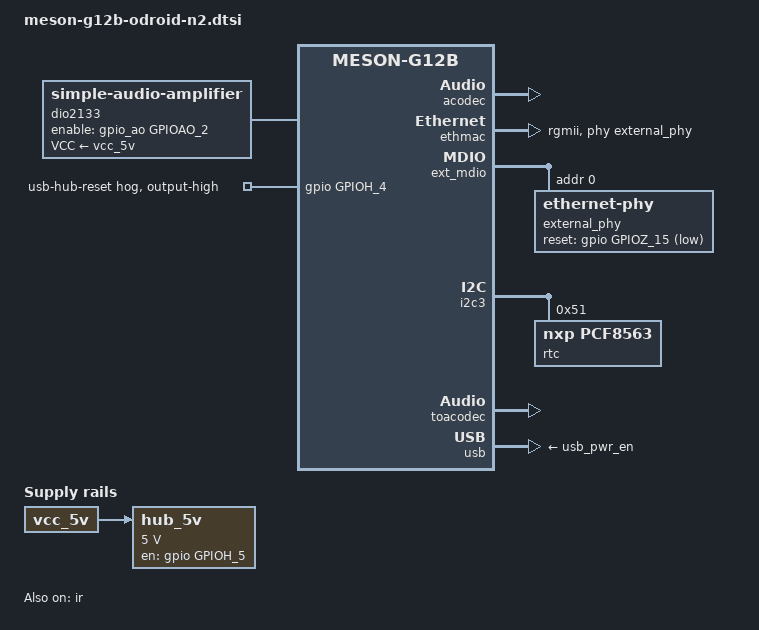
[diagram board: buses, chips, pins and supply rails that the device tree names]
// SPDX-License-Identifier: (GPL-2.0+ OR MIT)
/*
 * Copyright (c) 2019 BayLibre, SAS
 * Author: Neil Armstrong <narmstrong@baylibre.com>
 */

#include "meson-g12b-odroid.dtsi"

/ {
	aliases {
		rtc0 = &rtc;
	};

	dio2133: audio-amplifier-0 {
		compatible = "simple-audio-amplifier";
		enable-gpios = <&gpio_ao GPIOAO_2 GPIO_ACTIVE_HIGH>;
		VCC-supply = <&vcc_5v>;
		sound-name-prefix = "U19";
		status = "okay";
	};

	hub_5v: regulator-hub_5v {
		compatible = "regulator-fixed";
		regulator-name = "HUB_5V";
		regulator-min-microvolt = <5000000>;
		regulator-max-microvolt = <5000000>;
		vin-supply = <&vcc_5v>;

		/* Connected to the Hub CHIPENABLE, LOW sets low power state */
		gpio = <&gpio GPIOH_5 GPIO_ACTIVE_HIGH>;
		enable-active-high;
	};

	sound {
		compatible = "amlogic,axg-sound-card";
		model = "ODROID-N2";
		audio-widgets = "Line", "Lineout";
		audio-aux-devs = <&tdmout_b>, <&tdmout_c>, <&tdmin_a>,
				 <&tdmin_b>, <&tdmin_c>, <&tdmin_lb>,
				 <&dio2133>;
		audio-routing = "TDMOUT_B IN 0", "FRDDR_A OUT 1",
				"TDMOUT_B IN 1", "FRDDR_B OUT 1",
				"TDMOUT_B IN 2", "FRDDR_C OUT 1",
				"TDM_B Playback", "TDMOUT_B OUT",
				"TDMOUT_C IN 0", "FRDDR_A OUT 2",
				"TDMOUT_C IN 1", "FRDDR_B OUT 2",
				"TDMOUT_C IN 2", "FRDDR_C OUT 2",
				"TDM_C Playback", "TDMOUT_C OUT",
				"TDMIN_A IN 4", "TDM_B Loopback",
				"TDMIN_B IN 4", "TDM_B Loopback",
				"TDMIN_C IN 4", "TDM_B Loopback",
				"TDMIN_LB IN 1", "TDM_B Loopback",
				"TDMIN_A IN 5", "TDM_C Loopback",
				"TDMIN_B IN 5", "TDM_C Loopback",
				"TDMIN_C IN 5", "TDM_C Loopback",
				"TDMIN_LB IN 2", "TDM_C Loopback",
				"TODDR_A IN 0", "TDMIN_A OUT",
				"TODDR_B IN 0", "TDMIN_A OUT",
				"TODDR_C IN 0", "TDMIN_A OUT",
				"TODDR_A IN 1", "TDMIN_B OUT",
				"TODDR_B IN 1", "TDMIN_B OUT",
				"TODDR_C IN 1", "TDMIN_B OUT",
				"TODDR_A IN 2", "TDMIN_C OUT",
				"TODDR_B IN 2", "TDMIN_C OUT",
				"TODDR_C IN 2", "TDMIN_C OUT",
				"TODDR_A IN 6", "TDMIN_LB OUT",
				"TODDR_B IN 6", "TDMIN_LB OUT",
				"TODDR_C IN 6", "TDMIN_LB OUT",
				"U19 INL", "ACODEC LOLP",
				"U19 INR", "ACODEC LORP",
				"Lineout", "U19 OUTL",
				"Lineout", "U19 OUTR";

		assigned-clocks = <&clkc CLKID_MPLL2>,
				  <&clkc CLKID_MPLL0>,
				  <&clkc CLKID_MPLL1>;
		assigned-clock-parents = <0>, <0>, <0>;
		assigned-clock-rates = <294912000>,
				       <270950400>,
				       <393216000>;

		dai-link-0 {
			sound-dai = <&frddr_a>;
		};

		dai-link-1 {
			sound-dai = <&frddr_b>;
		};

		dai-link-2 {
			sound-dai = <&frddr_c>;
		};

		dai-link-3 {
			sound-dai = <&toddr_a>;
		};

		dai-link-4 {
			sound-dai = <&toddr_b>;
		};

		dai-link-5 {
			sound-dai = <&toddr_c>;
		};

		/* 8ch hdmi interface */
		dai-link-6 {
			sound-dai = <&tdmif_b>;
			dai-format = "i2s";
			dai-tdm-slot-tx-mask-0 = <1 1>;
			dai-tdm-slot-tx-mask-1 = <1 1>;
			dai-tdm-slot-tx-mask-2 = <1 1>;
			dai-tdm-slot-tx-mask-3 = <1 1>;
			mclk-fs = <256>;

			codec-0 {
				sound-dai = <&tohdmitx TOHDMITX_I2S_IN_B>;
			};

			codec-1 {
				sound-dai = <&toacodec TOACODEC_IN_B>;
			};
		};

		/* i2s jack output interface */
		dai-link-7 {
			sound-dai = <&tdmif_c>;
			dai-format = "i2s";
			dai-tdm-slot-tx-mask-0 = <1 1>;
			mclk-fs = <256>;

			codec-0 {
				sound-dai = <&tohdmitx TOHDMITX_I2S_IN_C>;
			};

			codec-1 {
				sound-dai = <&toacodec TOACODEC_IN_C>;
			};
		};

		/* hdmi glue */
		dai-link-8 {
			sound-dai = <&tohdmitx TOHDMITX_I2S_OUT>;

			codec {
				sound-dai = <&hdmi_tx>;
			};
		};

		/* acodec glue */
		dai-link-9 {
			sound-dai = <&toacodec TOACODEC_OUT>;

			codec {
				sound-dai = <&acodec>;
			};
		};
	};
};

&acodec {
	AVDD-supply = <&vddao_1v8>;
	status = "okay";
};

&ethmac {
	pinctrl-0 = <&eth_pins>, <&eth_rgmii_pins>;
	pinctrl-names = "default";
	status = "okay";
	phy-mode = "rgmii";
	phy-handle = <&external_phy>;
	amlogic,tx-delay-ns = <2>;
};

&ext_mdio {
	external_phy: ethernet-phy@0 {
		/* Realtek RTL8211F (0x001cc916) */
		reg = <0>;
		max-speed = <1000>;

		reset-assert-us = <10000>;
		reset-deassert-us = <80000>;
		reset-gpios = <&gpio GPIOZ_15 (GPIO_ACTIVE_LOW | GPIO_OPEN_DRAIN)>;

		interrupt-parent = <&gpio_intc>;
		/* MAC_INTR on GPIOZ_14 */
		interrupts = <IRQID_GPIOZ_14 IRQ_TYPE_LEVEL_LOW>;
	};
};

&gpio {
	gpio-line-names =
		/* GPIOZ */
		"", "", "", "", "", "", "", "",
		"", "", "", "", "", "", "", "",
		/* GPIOH */
		"", "", "", "", "", "", "", "",
		"",
		/* BOOT */
		"", "", "", "", "", "", "", "",
		"", "", "", "", "", "", "", "",
		/* GPIOC */
		"", "", "", "", "", "", "", "",
		/* GPIOA */
		"PIN_44", /* GPIOA_0 */
		"PIN_46", /* GPIOA_1 */
		"PIN_45", /* GPIOA_2 */
		"PIN_47", /* GPIOA_3 */
		"PIN_26", /* GPIOA_4 */
		"", "", "", "", "", "",
		"PIN_42", /* GPIOA_11 */
		"PIN_32", /* GPIOA_12 */
		"PIN_7",  /* GPIOA_13 */
		"PIN_27", /* GPIOA_14 */
		"PIN_28", /* GPIOA_15 */
		/* GPIOX */
		"PIN_16", /* GPIOX_0 */
		"PIN_18", /* GPIOX_1 */
		"PIN_22", /* GPIOX_2 */
		"PIN_11", /* GPIOX_3 */
		"PIN_13", /* GPIOX_4 */
		"PIN_33", /* GPIOX_5 */
		"PIN_35", /* GPIOX_6 */
		"PIN_15", /* GPIOX_7 */
		"PIN_19", /* GPIOX_8 */
		"PIN_21", /* GPIOX_9 */
		"PIN_24", /* GPIOX_10 */
		"PIN_23", /* GPIOX_11 */
		"PIN_8",  /* GPIOX_12 */
		"PIN_10", /* GPIOX_13 */
		"PIN_29", /* GPIOX_14 */
		"PIN_31", /* GPIOX_15 */
		"PIN_12", /* GPIOX_16 */
		"PIN_3",  /* GPIOX_17 */
		"PIN_5",  /* GPIOX_18 */
		"PIN_36"; /* GPIOX_19 */
	/*
	 * WARNING: The USB Hub on the Odroid-N2 needs a reset signal
	 * to be turned high in order to be detected by the USB Controller
	 * This signal should be handled by a USB specific power sequence
	 * in order to reset the Hub when USB bus is powered down.
	 */
	usb-hub-hog {
		gpio-hog;
		gpios = <GPIOH_4 GPIO_ACTIVE_HIGH>;
		output-high;
		line-name = "usb-hub-reset";
	};
};

&i2c3 {
	status = "okay";
	pinctrl-0 = <&i2c3_sda_a_pins>, <&i2c3_sck_a_pins>;
	pinctrl-names = "default";

	rtc: rtc@51 {
		compatible = "nxp,pcf8563";
		reg = <0x51>;
		wakeup-source;
	};
};

&ir {
	status = "okay";
	pinctrl-0 = <&remote_input_ao_pins>;
	pinctrl-names = "default";
	linux,rc-map-name = "rc-odroid";
};

/*
 * EMMC_D4, EMMC_D5, EMMC_D6 and EMMC_D7 pins are shared between SPI NOR pins
 * and eMMC Data 4 to 7 pins.
 * Replace emmc_data_8b_pins to emmc_data_4b_pins from sd_emmc_c pinctrl-0,
 * and change bus-width to 4 then spifc can be enabled.
 * The SW1 slide should also be set to the correct position.
 */
&spifc {
	status = "disabled";
	pinctrl-0 = <&nor_pins>;
	pinctrl-names = "default";

	mx25u64: flash@0 {
		#address-cells = <1>;
		#size-cells = <1>;
		compatible = "mxicy,mx25u6435f", "jedec,spi-nor";
		reg = <0>;
		spi-max-frequency = <104000000>;
	};
};

&toacodec {
	status = "okay";
};

&usb {
	vbus-supply = <&usb_pwr_en>;
};

&usb2_phy1 {
	/* Enable the hub which is connected to this port */
	phy-supply = <&hub_5v>;
};
